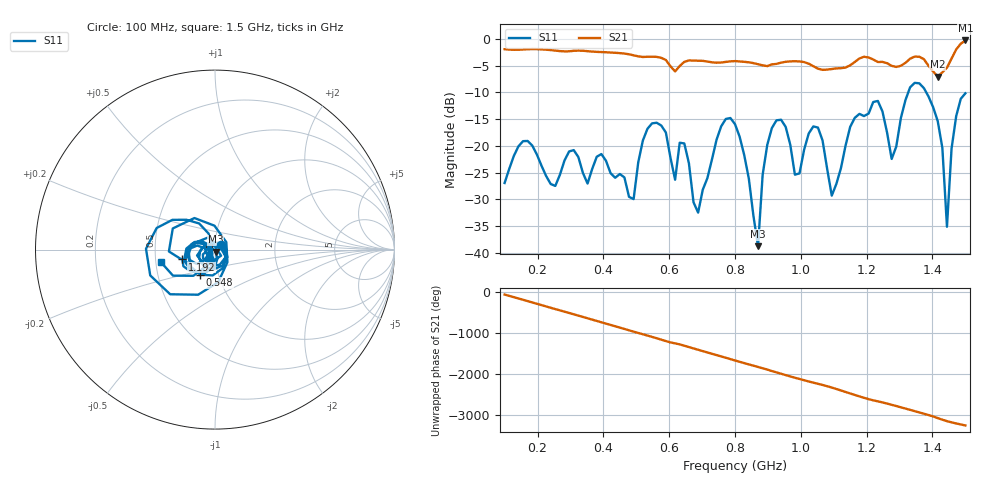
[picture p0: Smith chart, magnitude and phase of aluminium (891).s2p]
! NanoVNA-App
! Date: 2025-09-25 15:02:13
! Start: 100MHz Stop: 1,5GHz Points: 101
! S-Parameter data: F S11 S21 S12 S22
# Hz S RI R 50
!  Frequency  S11_Real  S11_Imag  S21_Real  S21_Imag  S12_Real  S12_Imag  S22_Real  S22_Imag
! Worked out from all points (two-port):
!   101 points, 100 MHz to 1.5 GHz, reference 50 ohm
!   highest |S21| = -0.28 dB at 1.5 GHz (marker M1); lowest = -7.1 dB at 1.416 GHz (marker M2)
!   |S21| within 3 dB of the highest: start of sweep to 509.5 MHz; 1.461 GHz to end of sweep
!   lowest |S11| = -38.8 dB at 870 MHz (marker M3), VSWR 1.02, Z = 50.3 - j1.12 ohm
!   |S11| at or under -10 dB: start of sweep to 1.326 GHz; 1.381 GHz to end of sweep
!   S12 and S22 are empty: the file has one direction only
!   S11 on the Smith chart (normalised r, x): 100 MHz: 1.07, +0.06; 548 MHz: 0.82, -0.24; 1.192 GHz: 0.69, -0.08; 1.5 GHz: 0.53, -0.08
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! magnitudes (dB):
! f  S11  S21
! 100 MHz  -27.0  -1.9
! 156 MHz  -19.1  -2.0
! 338 MHz  -25.1  -2.2
! 492 MHz  -30.0  -3.1
! 548 MHz  -15.8  -3.3
! 576 MHz  -16.2  -3.5
! 646 MHz  -19.6  -4.3
! 688 MHz  -32.5  -4.1
! 800 MHz  -15.9  -4.1
! 870 MHz  -38.8  -4.7
! 912 MHz  -16.7  -4.8
! 982 MHz  -25.4  -4.2
! 1.038 GHz  -16.4  -5.1
! 1.094 GHz  -29.3  -5.6
! 1.192 GHz  -14.4  -3.3
! 1.234 GHz  -11.6  -4.3
! 1.276 GHz  -22.5  -5.0
! 1.346 GHz  -8.2  -3.3
! 1.416 GHz  -15.4  -7.1
! 1.444 GHz  -35.1  -5.4
! 1.458 GHz  -20.5  -3.7
! 1.5 GHz  -10.2  -0.3
